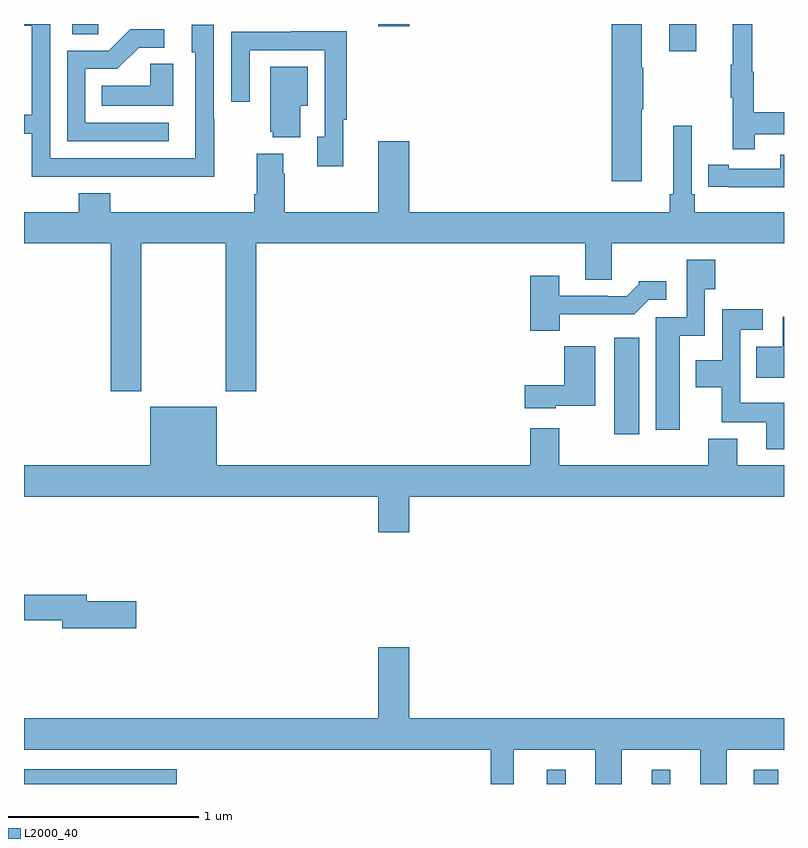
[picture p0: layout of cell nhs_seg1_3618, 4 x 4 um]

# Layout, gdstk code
import gdstk
lib = gdstk.Library(unit=1e-6, precision=1e-09)
def R(c, l, rs):  # rectangles x0, y0, x1, y1
    for r in rs: c.add(gdstk.rectangle(r[:2], r[2:], *l))
def P(c, l, *ps):  # polygons
    for p in ps: c.add(gdstk.Polygon(p, *l))
L2000_40 = (2000, 40)

nhs_seg1_3618 = lib.new_cell('nhs_seg1_3618')
R(nhs_seg1_3618, L2000_40, [(307,570.199,307.805,570.276), (309.752,570.199,309.85,570.274), (310.304,570.199,310.402,570.274), (310.841,570.199,310.969,570.274), (310.106,572.04,310.237,572.548), (310.397,574.056,310.537,574.199), (307.253,574.144,307.392,574.199), (308.864,574.188,309.028,574.199)])
P(nhs_seg1_3618, L2000_40, [(308.001,573.701),(307.998,573.701),(307.998,574.195),(307.883,574.195),(307.883,574.05),(307.902,574.05),(307.902,573.492),(307.137,573.492),(307.137,574.199),(307,574.199),(307,574.191),(307.041,574.191),(307.041,573.722),(307,573.722),(307,573.621),(307.041,573.621),(307.041,573.396),(307.537,573.396),(307.537,573.395),(308.001,573.395)],
  [(310.252,573.751),(310.26,573.751),(310.26,573.968),(310.252,573.968),(310.252,574.199),(310.094,574.199),(310.094,573.372),(310.252,573.372)],
  [(310.847,573.618),(311,573.618),(311,573.734),(310.84,573.734),(310.84,573.948),(310.832,573.948),(310.832,574.198),(310.73,574.198),(310.73,573.985),(310.719,573.985),(310.719,573.811),(310.73,573.811),(310.73,573.54),(310.847,573.54)],
  [(307.762,573.678),(307.323,573.678),(307.323,573.963),(307.492,573.963),(307.603,574.074),(307.738,574.074),(307.738,574.172),(307.559,574.172),(307.446,574.059),(307.227,574.059),(307.227,573.582),(307.762,573.582)],
  [(308.681,573.694),(308.699,573.694),(308.699,574.16),(308.407,574.16),(308.407,574.158),(308.091,574.158),(308.091,573.789),(308.187,573.789),(308.187,574.062),(308.583,574.062),(308.583,573.606),(308.543,573.606),(308.543,573.45),(308.681,573.45)],
  [(307.786,573.989),(307.665,573.989),(307.665,573.874),(307.408,573.874),(307.408,573.77),(307.786,573.77)],
  [(308.455,573.77),(308.494,573.77),(308.494,573.973),(308.297,573.973),(308.297,573.633),(308.309,573.633),(308.309,573.602),(308.455,573.602)],
  [(307.617,573.044),(308.062,573.044),(308.062,572.265),(308.222,572.265),(308.222,573.044),(309.953,573.044),(309.953,572.854),(310.093,572.854),(310.093,573.044),(311,573.044),(311,573.208),(310.529,573.208),(310.529,573.304),(310.515,573.304),(310.515,573.664),(310.418,573.664),(310.418,573.304),(310.399,573.304),(310.399,573.208),(309.028,573.208),(309.028,573.583),(308.864,573.583),(308.864,573.208),(308.373,573.208),(308.373,573.41),(308.365,573.41),(308.365,573.517),(308.225,573.517),(308.225,573.304),(308.213,573.304),(308.213,573.208),(307.454,573.208),(307.454,573.307),(307.289,573.307),(307.289,573.208),(307,573.208),(307,573.044),(307.457,573.044),(307.457,572.265),(307.617,572.265)],
  [(311,573.51),(310.98,573.51),(310.98,573.438),(310.708,573.438),(310.708,573.458),(310.6,573.458),(310.6,573.342),(310.708,573.342),(310.708,573.341),(311,573.341)],
  [(310.45,572.558),(310.584,572.558),(310.584,572.803),(310.637,572.803),(310.637,572.959),(310.488,572.959),(310.488,572.655),(310.325,572.655),(310.325,572.064),(310.45,572.064)],
  [(309.82,572.672),(310.211,572.672),(310.287,572.748),(310.381,572.748),(310.381,572.845),(310.236,572.845),(310.236,572.83),(310.172,572.766),(310.073,572.766),(310.073,572.769),(309.817,572.769),(309.817,572.875),(309.665,572.875),(309.665,572.585),(309.82,572.585)],
  [(311,572.206),(310.77,572.206),(310.77,572.589),(310.888,572.589),(310.888,572.698),(310.674,572.698),(310.674,572.428),(310.535,572.428),(310.535,572.288),(310.672,572.288),(310.672,572.102),(310.907,572.102),(310.907,571.962),(311,571.962)],
  [(311,572.659),(310.994,572.659),(310.994,572.5),(310.855,572.5),(310.855,572.336),(311,572.336)],
  [(309.798,572.189),(310.006,572.189),(310.006,572.503),(309.844,572.503),(309.844,572.299),(309.636,572.299),(309.636,572.177),(309.798,572.177)],
  [(309.028,571.712),(311,571.712),(311,571.876),(310.753,571.876),(310.753,572.017),(310.601,572.017),(310.601,571.876),(309.817,571.876),(309.817,572.071),(309.665,572.071),(309.665,571.876),(308.014,571.876),(308.014,572.185),(307.664,572.185),(307.664,571.876),(307,571.876),(307,571.712),(308.864,571.712),(308.864,571.524),(309.028,571.524)],
  [(307.591,571.16),(307.33,571.16),(307.33,571.196),(307,571.196),(307,571.06),(307.202,571.06),(307.202,571.018),(307.591,571.018)],
  [(309.028,570.919),(308.864,570.919),(308.864,570.544),(307,570.544),(307,570.38),(309.456,570.38),(309.456,570.199),(309.577,570.199),(309.577,570.38),(310.007,570.38),(310.007,570.199),(310.147,570.199),(310.147,570.38),(310.559,570.38),(310.559,570.199),(310.699,570.199),(310.699,570.38),(311,570.38),(311,570.544),(309.028,570.544)])

lib.write_gds('nhs_seg1_3618.gds')
